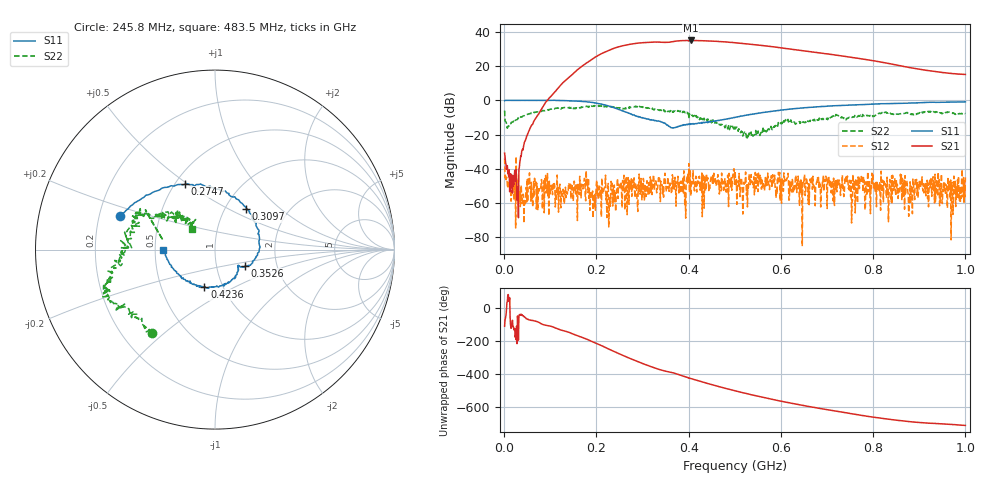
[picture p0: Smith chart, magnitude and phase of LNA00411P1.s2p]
! Created with skrf 1.9.0 (http://scikit-rf.org).
# Hz S RI R 50.0
!freq ReS11 ImS11 ReS21 ImS21 ReS12 ImS12 ReS22 ImS22
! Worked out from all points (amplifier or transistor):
!   1001 points, 1 MHz to 1 GHz, reference 50 ohm
!   highest |S21| = 34.9 dB at 404.6 MHz (marker M1)
!   |S21| within 3 dB of that: 258.7 MHz to 561 MHz (302.3 MHz wide, 73.8 % of centre)
!   unconditionally stable (mu >= 1): 3.606 MHz to 65.64 MHz; 220.2 MHz to 389.6 MHz; 389.9 MHz to end of sweep (the widest 3 of 29)
!   at 166.8 MHz: K = 3.34, MAG = 30.0 dB, |S12| = -56.9 dB
!   at 500.5 MHz: K = 1.29, MAG = 34.2 dB, |S12| = -41.2 dB
!   at 1 GHz: K = 2.36, MAG = 23.5 dB, |S12| = -45.0 dB
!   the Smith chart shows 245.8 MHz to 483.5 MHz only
!   S11 on the Smith chart (normalised r, x): 245.8 MHz: 0.29, +0.16; 274.7 MHz: 0.56, +0.49; 309.7 MHz: 1.25, +0.61; 352.6 MHz: 1.37, -0.26; 423.6 MHz: 0.82, -0.36; 483.5 MHz: 0.55, -0.00
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1000000  0.9779 -0.000848  -0.0103 -0.0268  -0.00891 0.0183  0.3834 0.3234
1.08892e8  0.5255 -0.8467  -0.8042 -1.497  0.00198 -0.00316  0.4096 -0.3771
1.67833e8  -0.2271 -0.902  -9.711 -0.5327  0.00202 -0.00295  0.0305 -0.6423
2.11789e8  -0.6789 -0.3587  -15.08 17.68  -0.0028 -0.00461  -0.2132 -0.636
2.45755e8  -0.532 0.1863  1.781 35.53  -0.00517 0.000914  -0.3503 -0.4659
2.74726e8  -0.1655 0.3655  27.06 34.21  -0.000737 0.00235  -0.5296 -0.3246
3.09691e8  0.173 0.2253  47.85 11.17  -0.00382 -0.00242  -0.5918 -0.1611
3.34666e8  0.2506 0.0142  48.97 -9.805  -0.00422 0.00359  -0.5191 -0.00741
3.52648e8  0.1678 -0.0908  44.5 -20.65  -9.4e-05 -0.00304  -0.5036 0.0972
3.75625e8  0.1291 -0.1075  40.28 -35.82  -1.24e-05 0.0037  -0.4462 0.1782
4.04596e8  0.0474 -0.1928  20.99 -51.62  0.000645 0.0015  -0.34 0.1812
4.23577e8  -0.0587 -0.2082  5.738 -54.77  0.0043 0.00432  -0.2166 0.1681
4.5055e8  -0.1893 -0.1485  -14.07 -51.85  0.00481 0.00396  -0.1849 0.1844
4.83517e8  -0.2878 -0.00292  -32.45 -38.26  0.00204 0.000702  -0.1262 0.1175
5.005e8  -0.301 0.1017  -37.91 -29.43  0.00793 -0.00362  -0.137 0.0651
5.39461e8  -0.2473 0.3089  -41.52 -8.506  0.000982 -0.00303  -0.0867 -0.0214
5.84416e8  -0.0706 0.4827  -34.89 10.16  0.00123 -0.00478  -0.1567 -0.0516
6.25375e8  0.1257 0.5516  -23.64 19.34  0.00388 -0.00217  -0.2245 -0.0823
6.67333e8  0.326 0.5415  -12.43 22.46  -0.000306 -0.00603  -0.2715 -0.0319
7.53247e8  0.6252 0.382  3.527 17.53  0.000206 0.000166  -0.3142 0.0548
8.34166e8  0.7877 0.1553  8.343 8.393  -0.000143 0.00137  -0.4013 0.1189
1e9  0.8215 -0.3749  5.647 0.7414  0.00565 -4.34e-06  -0.1561 0.3722
